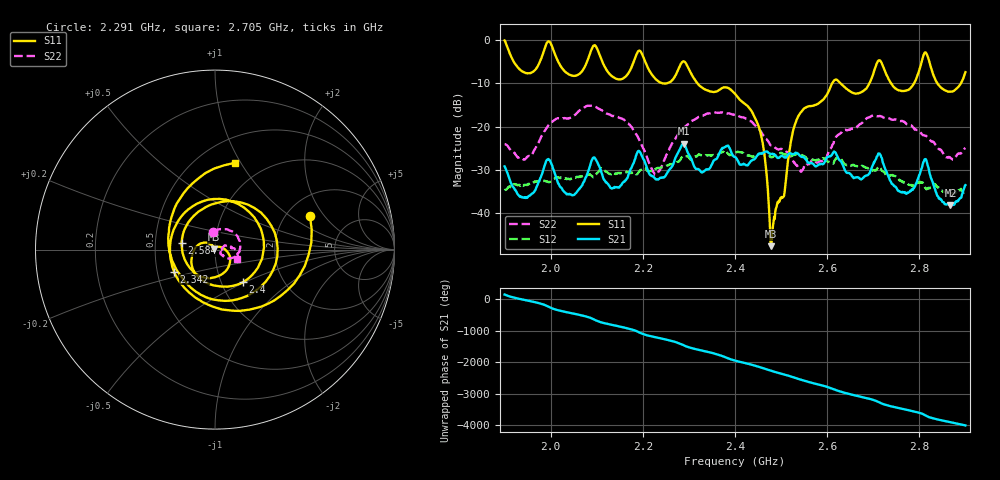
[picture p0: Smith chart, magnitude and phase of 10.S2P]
! C:\Users\rflab\Downloads\Lab5_KD_ZW\10.S2P
! Touchstone 1.1 file saved by VNA.EXE V1.65 (www.ke5fx.com/gpib/readme.htm)
! 11/11/2024 11:35:29 PM
!  Source: HEWLETT PACKARD,8753D,0,6.14
!  Min freq: 1.900000E+009 Hz
!  Max freq: 2.900000E+009 Hz
!  Points: 801
!  Params: S11 S21 S12 S22
# GHZ S RI R 50
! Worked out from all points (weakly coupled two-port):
!   801 points, 1.9 GHz to 2.9 GHz, reference 50 ohm
!   highest |S21| = -23.95 dB at 2.289 GHz (marker M1); lowest = -38.3 dB at 2.868 GHz (marker M2)
!   lowest |S11| = -47.7 dB at 2.478 GHz (marker M3), VSWR 1.01, Z = 49.6 + j0.155 ohm
!   |S11| at or under -10 dB: 2.319 GHz to 2.611 GHz (292.1 MHz wide, 11.9 % of centre); 2.629 GHz to 2.692 GHz (62.47 MHz wide, 2.35 % of centre); 2.839 GHz to 2.89 GHz (50.81 MHz wide, 1.77 % of centre) (the widest 3 of 5)
!   |S22| runs from -31.2 to -15.2 dB; largest |S21 - S12| = 0.023
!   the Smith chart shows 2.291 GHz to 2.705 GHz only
!   S11 on the Smith chart (normalised r, x): 2.291 GHz: 2.66, +1.46; 2.342 GHz: 0.61, -0.16; 2.4 GHz: 1.27, -0.49; 2.584 GHz: 0.69, +0.05; 2.705 GHz: 0.73, +0.94
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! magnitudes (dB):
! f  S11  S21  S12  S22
! 1.9 GHz  0.0  -29.3  -34.8  -24.1
! 1.94 GHz  -7.3  -36.5  -33.6  -27.6
! 1.994 GHz  -0.3  -27.6  -32.8  -19.9
! 2.067 GHz  -7.2  -33.7  -31.6  -16.0
! 2.149 GHz  -9.1  -34.1  -30.8  -17.9
! 2.191 GHz  -2.4  -25.6  -30.5  -22.9
! 2.234 GHz  -9.6  -32.3  -29.6  -30.5
! 2.289 GHz  -4.9  -23.9  -26.9  -20.4
! 2.291 GHz  -5.0  -24.3  -27.0  -20.0
! 2.342 GHz  -11.7  -29.9  -26.7  -17.0
! 2.4 GHz  -12.4  -27.1  -26.4  -17.3
! 2.454 GHz  -20.8  -26.3  -26.4  -20.8
! 2.478 GHz  -47.7  -26.4  -27.1  -24.3
! 2.531 GHz  -19.2  -26.1  -26.5  -28.7
! 2.567 GHz  -15.2  -28.5  -27.6  -27.7
! 2.584 GHz  -14.5  -28.7  -27.6  -28.1
! 2.705 GHz  -6.1  -27.7  -30.2  -17.5
! 2.734 GHz  -9.1  -31.7  -31.6  -18.1
! 2.777 GHz  -11.4  -35.3  -33.5  -19.6
! 2.814 GHz  -2.8  -27.5  -34.3  -22.1
! 2.868 GHz  -11.9  -38.3  -35.3  -27.3
! 2.9 GHz  -7.4  -33.6  -35.3  -25.0
